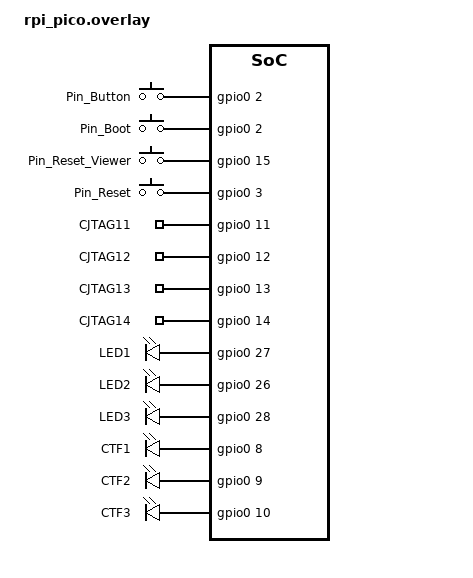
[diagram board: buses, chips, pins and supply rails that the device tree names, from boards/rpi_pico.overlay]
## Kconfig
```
# Copyright (c) 2021 Nordic Semiconductor ASA
# SPDX-License-Identifier: Apache-2.0
#
# This file is the application Kconfig entry point. All application Kconfig
# options can be defined here or included via other application Kconfig files.
# You can browse these options using the west targets menuconfig (terminal) or
# guiconfig (GUI).

menu "Zephyr"
source "Kconfig.zephyr"
endmenu

module = APP
module-str = APP
source "subsys/logging/Kconfig.template.log_config"

menu "Application Configuration"

config BLINK
    bool "Enable blinking"
    default y

endmenu
```

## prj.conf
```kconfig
# Copyright (c) 2021 Nordic Semiconductor ASA
# SPDX-License-Identifier: Apache-2.0
#
# This file contains selected Kconfig options for the application.

CONFIG_BLINK=y
```

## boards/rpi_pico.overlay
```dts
/ {
    aliases {
        pin-reset = &pinreset;
        pin-reset-viewer = &pin_reset_viewer;
        pin-boot = &pin_boot;
        pin-button = &pin_button;
        led0 = &led_0;
        led1 = &led_1;
        led2 = &led_2;
        ctf1 = &ctf1;
        ctf2 = &ctf2;
        ctf3 = &ctf3;
        cjtag0 = &cjtag0;
        cjtag1 = &cjtag1;
        cjtag2 = &cjtag2;
        cjtag3 = &cjtag3;
    };


    gpio_keys: buttons {
        compatible = "gpio-keys";

        pin_button: button0 {
            gpios = <&gpio0 2 GPIO_PULL_UP>;
            label = "Pin_Button";
        };

        pin_boot: button1 {
            gpios = <&gpio0 2 GPIO_PULL_UP>;
            label = "Pin_Boot";
        };

        pin_reset_viewer: button2 {
            gpios = <&gpio0 15 GPIO_ACTIVE_HIGH>;
            label = "Pin_Reset_Viewer";
        };

        pinreset: resetpin {
            gpios = <&gpio0 3 GPIO_ACTIVE_HIGH>;
            label = "Pin_Reset";
        };

        cjtag0: cjtag0 {
            gpios = <&gpio0 11 GPIO_ACTIVE_HIGH>;
            label = "CJTAG11";
        };

        cjtag1: cjtag1 {
            gpios = <&gpio0 12 GPIO_ACTIVE_HIGH>;
            label = "CJTAG12";
        };

        cjtag2: cjtag2 {
            gpios = <&gpio0 13 GPIO_ACTIVE_HIGH>;
            label = "CJTAG13";
        };

        cjtag3: cjtag3 {
            gpios = <&gpio0 14 GPIO_ACTIVE_HIGH>;
            label = "CJTAG14";
        };


    };

    leds {
        compatible = "gpio-leds";

        led_0: led0 {
            gpios = <&gpio0 27 GPIO_ACTIVE_HIGH>;
            label = "LED1";
        };

        led_1: led1 {
            gpios = <&gpio0 26 GPIO_ACTIVE_HIGH>;
            label = "LED2";
        };

        led_2: led2 {
            gpios = <&gpio0 28 GPIO_ACTIVE_HIGH>;
            label = "LED3";
        };
    };

    rf_ctrl: rfctrl {
        compatible = "gpio-leds";  // Treated as outputs

        ctf1: rfout1 {
            gpios = <&gpio0 8 GPIO_ACTIVE_HIGH>;
            label = "CTF1";
        };

        ctf2: rfout2 {
            gpios = <&gpio0 9 GPIO_ACTIVE_HIGH>;
            label = "CTF2";
        };

        ctf3: rfout3 {
            gpios = <&gpio0 10 GPIO_ACTIVE_HIGH>;
            label = "CTF3";
        };
    };


};

&pinctrl {
    swd {
        group0 {
            pinmux = <>;
        };
    };
};
```

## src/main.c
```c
/*
 * Copyright (c) 2016 Intel Corporation
 *
 * SPDX-License-Identifier: Apache-2.0
 */

#include <stdio.h>
#include <zephyr/kernel.h>
#include <zephyr/drivers/gpio.h>

/* 1000 msec = 1 sec */
#define SLEEP_TIME_MS 1000

// Helper macro to simplify GPIO setup
#define INIT_GPIO(name, flags)                                         \
	const struct gpio_dt_spec name =                               \
		GPIO_DT_SPEC_GET_OR(DT_ALIAS(name), gpios, { 0 });     \
	do {                                                           \
		if (!device_is_ready(name.port)) {                     \
			printk("Error: " #name " device not ready\n"); \
			return 1;                                      \
		}                                                      \
		gpio_pin_configure_dt(&name, flags);                   \
	} while (0)

/*
 * A build error on this line means your board is unsupported.
 * See the sample documentation for information on how to fix this.
 */

int main(void)
{
	int ret;
	bool led_state = true;

	// // Inputs with pull-up
	INIT_GPIO(pin_button, GPIO_INPUT | GPIO_PULL_UP);
	INIT_GPIO(pin_boot, GPIO_INPUT | GPIO_PULL_UP);
	INIT_GPIO(pin_reset_viewer, GPIO_INPUT);

	// // Output pin for reset
	INIT_GPIO(pin_reset, GPIO_OUTPUT);
	gpio_pin_set_dt(&pin_reset, 1);

	// LEDs
	INIT_GPIO(led0, GPIO_OUTPUT);
	INIT_GPIO(led1, GPIO_OUTPUT);
	INIT_GPIO(led2, GPIO_OUTPUT);
	gpio_pin_set_dt(&led0, 0);
	gpio_pin_set_dt(&led1, 0);
	gpio_pin_set_dt(&led2, 0);

	// RF switch outputs
	INIT_GPIO(ctf1, GPIO_OUTPUT);
	INIT_GPIO(ctf2, GPIO_OUTPUT);
	INIT_GPIO(ctf3, GPIO_OUTPUT);
	gpio_pin_set_dt(&ctf1, 0);
	gpio_pin_set_dt(&ctf2, 0);
	gpio_pin_set_dt(&ctf3, 0);

	// // cJTAG inputs (11 to 14)
	INIT_GPIO(cjtag0, GPIO_INPUT);
	INIT_GPIO(cjtag1, GPIO_INPUT);
	INIT_GPIO(cjtag2, GPIO_INPUT);
	INIT_GPIO(cjtag3, GPIO_INPUT);

	printk("GPIO setup complete\n");

	while (1) {
		ret = gpio_pin_toggle_dt(&led0);
		if (ret < 0) {
			return 0;
		}

		led_state = !led_state;
		printf("LED state: %s\n", led_state ? "ON" : "OFF");
		k_msleep(SLEEP_TIME_MS);
	}
	return 0;
}
```
